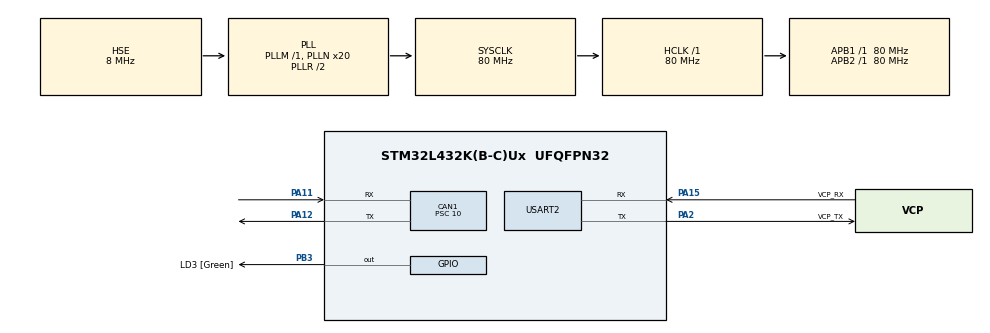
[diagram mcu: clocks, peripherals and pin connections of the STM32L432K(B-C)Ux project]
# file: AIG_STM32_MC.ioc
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CAN1.BS1=CAN_BS1_5TQ
CAN1.BS2=CAN_BS2_2TQ
CAN1.CalculateBaudRate=1000000
CAN1.CalculateTimeBit=1000
CAN1.CalculateTimeQuantum=125.0
CAN1.Prescaler=10
Mcu.Family=STM32L4
Mcu.Name=STM32L432K(B-C)Ux
Mcu.Package=UFQFPN32
NVIC.CAN1_RX0_IRQn=true\:0\:0\:false\:false\:true\:true\:true\:true
NVIC.CAN1_RX1_IRQn=true\:0\:0\:false\:false\:true\:true\:true\:true
NVIC.CAN1_SCE_IRQn=true\:0\:0\:false\:false\:true\:true\:true\:true
NVIC.CAN1_TX_IRQn=true\:0\:0\:false\:false\:true\:true\:true\:true
NVIC.PriorityGroup=NVIC_PRIORITYGROUP_4
PA0.GPIO_Label=MCO [High speed clock in]
PA0.Mode=HSE-External-Clock-Source-for-LittleOrca
PA0.Signal=RCC_CK_IN
PA11.Mode=CAN_Activate
PA11.Signal=CAN1_RX
PA12.Mode=CAN_Activate
PA12.Signal=CAN1_TX
PA13\ (JTMS-SWDIO).GPIO_Label=SWDIO
PA13\ (JTMS-SWDIO).Mode=Serial_Wire
PA13\ (JTMS-SWDIO).Signal=SYS_JTMS-SWDIO
PA14\ (JTCK-SWCLK).GPIO_Label=SWCLK
PA14\ (JTCK-SWCLK).Mode=Serial_Wire
PA14\ (JTCK-SWCLK).Signal=SYS_JTCK-SWCLK
PA15\ (JTDI).GPIO_Label=VCP_RX
PA15\ (JTDI).Mode=Asynchronous
PA15\ (JTDI).Signal=USART2_RX
PA2.GPIO_Label=VCP_TX
PA2.Mode=Asynchronous
PA2.Signal=USART2_TX
PB3\ (JTDO-TRACESWO).GPIO_Label=LD3 [Green]
PB3\ (JTDO-TRACESWO).Signal=GPIO_Output
PC14-OSC32_IN\ (PC14).Mode=LSE-External-Oscillator
PC14-OSC32_IN\ (PC14).Signal=RCC_OSC32_IN
PC15-OSC32_OUT\ (PC15).Mode=LSE-External-Oscillator
PC15-OSC32_OUT\ (PC15).Signal=RCC_OSC32_OUT
ProjectManager.HeapSize=0x200
ProjectManager.StackSize=0x400
ProjectManager.TargetToolchain=STM32CubeIDE
RCC.ADCFreq_Value=32000000
RCC.AHBFreq_Value=80000000
RCC.APB1Freq_Value=80000000
RCC.APB1TimFreq_Value=80000000
RCC.APB2Freq_Value=80000000
RCC.APB2TimFreq_Value=80000000
RCC.CortexFreq_Value=80000000
RCC.HCLKFreq_Value=80000000
RCC.HSE_VALUE=8000000
RCC.HSI16_VALUE=16000000
RCC.HSI48_VALUE=48000000
RCC.HSI_VALUE=16000000
RCC.MSI_VALUE=4000000
RCC.PLLMUL=RCC_PLLMUL_4
RCC.PLLN=20
RCC.PLLSourceVirtual=RCC_PLLSOURCE_HSE
RCC.SYSCLKFreq_VALUE=80000000
RCC.SYSCLKSource=RCC_SYSCLKSOURCE_PLLCLK
RCC.USBFreq_Value=32000000
RCC.VCOOutputFreq_Value=160000000
USART2.VirtualMode-Asynchronous=VM_ASYNC
board=NUCLEO-L432KC

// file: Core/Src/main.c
/* USER CODE BEGIN Header */
/**
  ******************************************************************************
  * @file           : main.c
  * @brief          : Main program body
  ******************************************************************************
  * @attention
  *
  * Copyright (c) 2023 STMicroelectronics.
  * All rights reserved.
  *
  * This software is licensed under terms that can be found in the LICENSE file
  * in the root directory of this software component.
  * If no LICENSE file comes with this software, it is provided AS-IS.
  *
  ******************************************************************************
  */
/* USER CODE END Header */
#include "main.h"
#include "can.h"
#include "usart.h"
#include "gpio.h"

void SystemClock_Config(void);

/* USER CODE BEGIN 0 */
uint8_t ubKeyNumber = 0x0;
CAN_TxHeaderTypeDef   TxHeader;
CAN_RxHeaderTypeDef   RxHeader;
uint8_t               TxData[8];
uint8_t               RxData[8];
uint32_t              TxMailbox;

int32_t i32AbsPosition = 0;
int32_t i32Velocity = 0;
int16_t i16Current = 0;
float f32AbsPosition = 0;
/* USER CODE END 0 */

int main(void)
{
  /* USER CODE BEGIN 1 */
	  CAN_FilterTypeDef  sFilterConfig;

  /* USER CODE END 1 */

  /* MCU Configuration--------------------------------------------------------*/

  /* Reset of all peripherals, Initializes the Flash interface and the Systick. */
  HAL_Init();

  /* Configure the system clock */
  SystemClock_Config();

  /* Initialize all configured peripherals */
  MX_GPIO_Init();
  MX_USART2_UART_Init();
  MX_CAN1_Init();
  /* USER CODE BEGIN 2 */

  //hcan1 = CAN1;

  sFilterConfig.FilterBank = 0;
  sFilterConfig.FilterMode = CAN_FILTERMODE_IDMASK;
  sFilterConfig.FilterScale = CAN_FILTERSCALE_32BIT;
  sFilterConfig.FilterIdHigh = 0x0000;
  sFilterConfig.FilterIdLow = 0x0000;
  sFilterConfig.FilterMaskIdHigh = 0x0000;
  sFilterConfig.FilterMaskIdLow = 0x0000;
  sFilterConfig.FilterFIFOAssignment = CAN_RX_FIFO0;
  sFilterConfig.FilterActivation = ENABLE;
  sFilterConfig.SlaveStartFilterBank = 14;

  if (HAL_CAN_ConfigFilter(&hcan1, &sFilterConfig) != HAL_OK)
  {
    /* Filter configuration Error */
    Error_Handler();
  }

  /*##-3- Start the CAN peripheral ###########################################*/
  if (HAL_CAN_Start(&hcan1) != HAL_OK)
  {
    /* Start Error */
    Error_Handler();
  }

  /*##-4- Activate CAN RX notification #######################################*/
  if (HAL_CAN_ActivateNotification(&hcan1, CAN_IT_RX_FIFO0_MSG_PENDING) != HAL_OK)
  {
    /* Notification Error */
    Error_Handler();
  }

  TxHeader.StdId = 0x145;
  TxHeader.ExtId = 0x01;
  TxHeader.RTR = CAN_RTR_DATA;
  TxHeader.IDE = CAN_ID_STD;
  TxHeader.DLC = 8;
  TxHeader.TransmitGlobalTime = DISABLE;
  TxData[0]  = 0x60;
  /* USER CODE END 2 */

  /* Infinite loop */
  /* USER CODE BEGIN WHILE */
  while (1)
  {
		HAL_Delay(2);
		//Request Position
        TxData[0]  = 0x60;
		HAL_GPIO_TogglePin(LD3_GPIO_Port,LD3_Pin);
		if (HAL_CAN_AddTxMessage(&hcan1, &TxHeader, TxData, &TxMailbox) != HAL_OK)
		{
			 /* Transmission request Error */
			 Error_Handler();
		}
		HAL_Delay(2);
		//Set Velocity
		if (i32Velocity != 0)
		{
			TxData[0]  = 0xA2;
			TxData[1]  = 0;
			TxData[2]  = 0;
			TxData[3]  = 0;
			TxData[4]  = i32Velocity & 0xFF;
			TxData[5]  = (i32Velocity >> 8) & 0xFF;
			TxData[6]  = (i32Velocity >> 16) & 0xFF;
			TxData[7]  = (i32Velocity >> 32) & 0xFF;
			HAL_GPIO_TogglePin(LD3_GPIO_Port,LD3_Pin);
			/* Start the Transmission process */
			//if (HAL_CAN_IsTxMessagePending(&hcan1, &TxMailbox) == 0)
			if (HAL_CAN_AddTxMessage(&hcan1, &TxHeader, TxData, &TxMailbox) != HAL_OK)
			{
				 /* Transmission request Error */
				 Error_Handler();
			}
		}
		else
		{
			TxData[0]  = 0xA1;
			TxData[1]  = 0;
			TxData[2]  = 0;
			TxData[3]  = 0;
			TxData[4]  = i16Current & 0xFF;
			TxData[5]  = (i16Current >> 8) & 0xFF;
			TxData[6]  = 0;
			TxData[7]  = 0;
			HAL_GPIO_TogglePin(LD3_GPIO_Port,LD3_Pin);
			/* Start the Transmission process */
			//if (HAL_CAN_IsTxMessagePending(&hcan1, &TxMailbox) == 0)
			if (HAL_CAN_AddTxMessage(&hcan1, &TxHeader, TxData, &TxMailbox) != HAL_OK)
			{
				 /* Transmission request Error */
				 Error_Handler();
			}
		}
 		//i32Velocity += 1;

    /* USER CODE END WHILE */

  }
}

void SystemClock_Config(void)
{
  RCC_OscInitTypeDef RCC_OscInitStruct = {0};
  RCC_ClkInitTypeDef RCC_ClkInitStruct = {0};

  /** Configure the main internal regulator output voltage
  */
  if (HAL_PWREx_ControlVoltageScaling(PWR_REGULATOR_VOLTAGE_SCALE1) != HAL_OK)
  {
    Error_Handler();
  }

  /** Initializes the RCC Oscillators according to the specified parameters
  * in the RCC_OscInitTypeDef structure.
  */
  RCC_OscInitStruct.OscillatorType = RCC_OSCILLATORTYPE_HSE;
  RCC_OscInitStruct.HSEState = RCC_HSE_BYPASS;
  RCC_OscInitStruct.PLL.PLLState = RCC_PLL_ON;
  RCC_OscInitStruct.PLL.PLLSource = RCC_PLLSOURCE_HSE;
  RCC_OscInitStruct.PLL.PLLM = 1;
  RCC_OscInitStruct.PLL.PLLN = 20;
  RCC_OscInitStruct.PLL.PLLP = RCC_PLLP_DIV7;
  RCC_OscInitStruct.PLL.PLLQ = RCC_PLLQ_DIV2;
  RCC_OscInitStruct.PLL.PLLR = RCC_PLLR_DIV2;
  if (HAL_RCC_OscConfig(&RCC_OscInitStruct) != HAL_OK)
  {
    Error_Handler();
  }

  /** Initializes the CPU, AHB and APB buses clocks
  */
  RCC_ClkInitStruct.ClockType = RCC_CLOCKTYPE_HCLK|RCC_CLOCKTYPE_SYSCLK
                              |RCC_CLOCKTYPE_PCLK1|RCC_CLOCKTYPE_PCLK2;
  RCC_ClkInitStruct.SYSCLKSource = RCC_SYSCLKSOURCE_PLLCLK;
  RCC_ClkInitStruct.AHBCLKDivider = RCC_SYSCLK_DIV1;
  RCC_ClkInitStruct.APB1CLKDivider = RCC_HCLK_DIV1;
  RCC_ClkInitStruct.APB2CLKDivider = RCC_HCLK_DIV1;

  if (HAL_RCC_ClockConfig(&RCC_ClkInitStruct, FLASH_LATENCY_4) != HAL_OK)
  {
    Error_Handler();
  }
}

/* USER CODE BEGIN 4 */
/**
  * @brief  Rx Fifo 0 message pending callback
  * @param  hcan: pointer to a CAN_HandleTypeDef structure that contains
  *         the configuration information for the specified CAN.
  * @retval None
  */
void HAL_CAN_RxFifo0MsgPendingCallback(CAN_HandleTypeDef *hcan)
{
  /* Get RX message */
  if (HAL_CAN_GetRxMessage(hcan, CAN_RX_FIFO0, &RxHeader, RxData) != HAL_OK)
  {
    /* Reception Error */
    Error_Handler();
  }

  /* Display LEDx */
  if ((RxHeader.StdId == 0x245) && (RxHeader.IDE == CAN_ID_STD) && (RxHeader.DLC == 8))
  {
	  if (TxData[0] == 0x60)
	  {
		  i32AbsPosition = RxData[4] + (RxData[5] << 8) + (RxData[6] << 16) + (RxData[7] << 24);
		  f32AbsPosition = i32AbsPosition /100.0;
	  }
  }
}
/* USER CODE END 4 */

void Error_Handler(void)
{
  __disable_irq();
  while (1)
  {
  }
}
